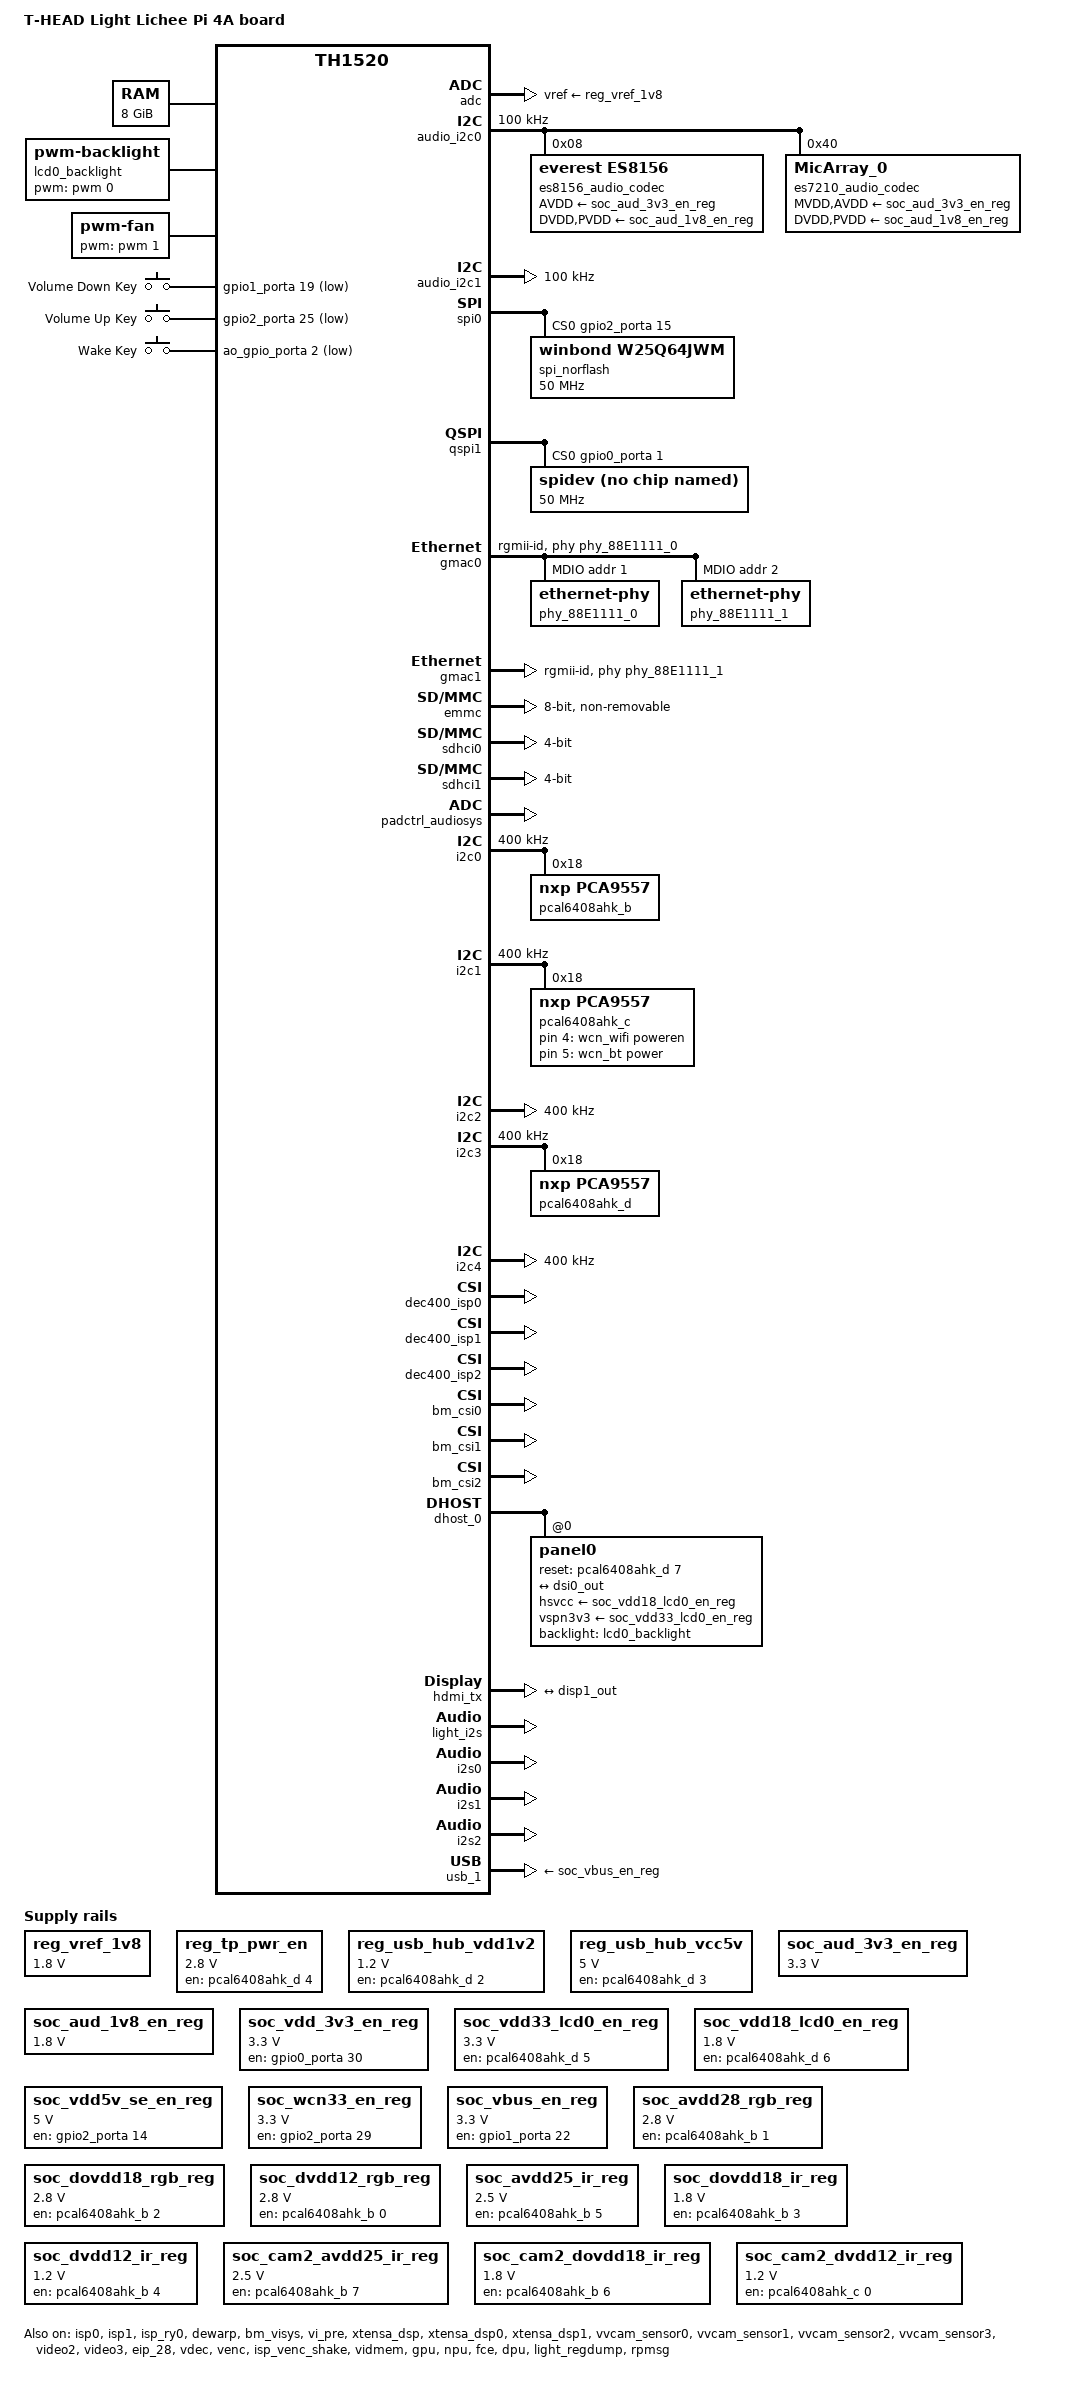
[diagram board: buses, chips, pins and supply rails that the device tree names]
/* SPDX-License-Identifier: GPL-2.0 */
/*
 * Copyright (C) 2021 Alibaba Group Holding Limited.
 */

/dts-v1/;

#include "th1520.dtsi"
#include <dt-bindings/input/linux-event-codes.h>
#include <dt-bindings/gpio/gpio.h>
#include "th1520-vi-devices.dtsi"
/ {
	model = "T-HEAD Light Lichee Pi 4A board";
	compatible = "thead,light-val", "thead,light-lpi4a", "thead,light";

	memory@0 {
		device_type = "memory";
		reg = <0x0 0x200000 0x1 0xffe00000>;
	};

	chosen {
		bootargs = "console=ttyS0,115200 crashkernel=256M-:128M earlycon clk_ignore_unused sram=0xffe0000000,0x180000";
		stdout-path = "serial0:115200n8";
	};

	leds {
		compatible = "gpio-leds";
		status = "disabled";
		led0 {
			label = "SYS_STATUS";
			gpios = <&gpio1_porta 15 0>;	/* GPIO_ACTIVE_HIGH: 0 */
			default-state = "off";
		};
	};

	display-subsystem {
		status = "okay";
	};

	lcd0_backlight: pwm-backlight@0 {
		compatible = "pwm-backlight";
		pwms = <&pwm 0 5000000>;
		brightness-levels = <0 4 8 16 32 64 128 255>;
		default-brightness-level = <7>;
	};

	light_iopmp: iopmp {
		compatible = "thead,light-iopmp";

		/* config#1: multiple valid regions */
		iopmp_emmc: IOPMP_EMMC {
			attr = <0xFFFFFFFF>;
			is_default_region;
		};

		/* config#2: iopmp bypass */
		iopmp_sdio0: IOPMP_SDIO0 {
			bypass_en;
		};

		/* config#3: iopmp default region set */
		iopmp_sdio1: IOPMP_SDIO1 {
			attr = <0xFFFFFFFF>;
			is_default_region;
		};

		iopmp_usb0: IOPMP_USB0 {
			attr = <0xFFFFFFFF>;
			is_default_region;
		};

		iopmp_ao: IOPMP_AO {
			is_default_region;
		};

		iopmp_aud: IOPMP_AUD {
			is_default_region;
		};

		iopmp_chip_dbg: IOPMP_CHIP_DBG {
			is_default_region;
		};

		iopmp_eip120i: IOPMP_EIP120I {
			is_default_region;
		};

		iopmp_eip120ii: IOPMP_EIP120II {
			is_default_region;
		};

		iopmp_eip120iii: IOPMP_EIP120III {
			is_default_region;
		};

		iopmp_isp0: IOPMP_ISP0 {
			is_default_region;
		};

		iopmp_isp1: IOPMP_ISP1 {
			is_default_region;
		};

		iopmp_dw200: IOPMP_DW200 {
			is_default_region;
		};

		iopmp_vipre: IOPMP_VIPRE {
			is_default_region;
		};

		iopmp_venc: IOPMP_VENC {
			is_default_region;
		};

		iopmp_vdec: IOPMP_VDEC {
			is_default_region;
		};

		iopmp_g2d: IOPMP_G2D {
			is_default_region;
		};

		iopmp_fce: IOPMP_FCE {
			is_default_region;
		};

		iopmp_npu: IOPMP_NPU {
			is_default_region;
		};

		iopmp0_dpu: IOPMP0_DPU {
			bypass_en;
		};

		iopmp1_dpu: IOPMP1_DPU {
			bypass_en;
		};

		iopmp_gpu: IOPMP_GPU {
			is_default_region;
		};

		iopmp_gmac1: IOPMP_GMAC1 {
			is_default_region;
		};

		iopmp_gmac2: IOPMP_GMAC2 {
			is_default_region;
		};

		iopmp_dmac: IOPMP_DMAC {
			is_default_region;
		};

		iopmp_tee_dmac: IOPMP_TEE_DMAC {
			is_default_region;
		};

		iopmp_dsp0: IOPMP_DSP0 {
			is_default_region;
		};

		iopmp_dsp1: IOPMP_DSP1 {
			is_default_region;
		};

		iopmp_audio0: IOPMP_AUDIO0 {
			is_default_region;
		};

		iopmp_audio1: IOPMP_AUDIO1 {
			is_default_region;
		};
	};

	mbox_910t_client1: mbox_910t_client1 {
		compatible = "thead,light-mbox-client";
		mbox-names = "902";
		mboxes = <&mbox_910t 1 0>;
		status = "disabled";
	};


	mbox_910t_client2: mbox_910t_client2 {
		compatible = "thead,light-mbox-client";
		mbox-names = "906";
		mboxes = <&mbox_910t 2 0>;
		audio-mbox-regmap = <&audio_mbox>;
		status = "okay";
	};

	lightsound: lightsound@1 {
		compatible = "simple-audio-card";
		simple-audio-card,name = "Light-Sound-Card";

		#address-cells = <1>;
		#size-cells = <0>;

		status = "disabled";
	};

	light_rpmsg: light_rpmsg {
		compatible = "light,rpmsg-bus", "simple-bus";
		memory-region = <&rpmsgmem>;
		#address-cells = <2>;
		#size-cells = <2>;
		ranges;
		rpmsg: rpmsg{
			vdev-nums = <1>;
            reg = <0x0 0x1E000000 0 0x10000>;
			compatible = "light,light-rpmsg";
			log-memory-region = <&audio_log_mem>;
			status = "okay";
		};
	};

	dummy_codec: dummy_codec {
		#sound-dai-cells = <0>;
		compatible = "thead,light-dummy-pcm";
		status = "okay";
		sound-name-prefix = "DUMMY";
	};

	fan: pwm-fan {
		compatible = "pwm-fan";
		#cooling-cells = <2>;
		pwms = <&pwm 1 10000000 0>;
		cooling-levels = <0 64 192 255>;
	};

	reg_vref_1v8: regulator-adc-verf {
		compatible = "regulator-fixed";
		regulator-name = "vref-1v8";
		regulator-min-microvolt = <1800000>;
		regulator-max-microvolt = <1800000>;
		status = "okay";
	};

	reg_tp_pwr_en: regulator-pwr-en {
		compatible = "regulator-fixed";
		regulator-name = "regulator-pwr-en";
		regulator-min-microvolt = <2800000>;
		regulator-max-microvolt = <2800000>;
		gpio = <&pcal6408ahk_d 4 1>;
		enable-active-high;
		regulator-always-on;
	};

	reg_usb_hub_vdd1v2: regulator-hub-vdd12-en {
		compatible = "regulator-fixed";
		regulator-name = "regulator-hub-vdd12-en";
		regulator-min-microvolt = <1200000>;
		regulator-max-microvolt = <1200000>;
		gpio = <&pcal6408ahk_d 2 1>;
		enable-active-high;
	};

	reg_usb_hub_vcc5v: regulator-hub-vcc5v-en {
		compatible = "regulator-fixed";
		regulator-name = "regulator-hub-vcc5v-en";
		regulator-min-microvolt = <5000000>;
		regulator-max-microvolt = <5000000>;
		gpio = <&pcal6408ahk_d 3 1>;
		enable-active-high;
	};

	wcn_wifi: wireless-wlan {
		compatible = "wlan-platdata";
		clock-names = "clk_wifi";
		ref-clock-frequency = <24000000>;
		keep_wifi_power_on;
		pinctrl-names = "default";
		pinctrl-0 = <&pinctrl_wifi_wake>;
		wifi_chip_type = "rtl8723ds";
		WIFI,poweren_gpio = <&pcal6408ahk_c 4 0>;
		support_power_ctrl;
		status = "okay";
	};

	wcn_bt: wireless-bluetooth {
		compatible = "bluetooth-platdata";
		pinctrl-names = "default";
		pinctrl-0 = <&pinctrl_bt_wake>;
		BT,power_gpio    = <&pcal6408ahk_c 5 0>;
		status = "okay";
	};

	gpio-keys {
		compatible = "gpio-keys";
		pinctrl-0 = <&pinctrl_volume &pinctrl_sleep>;
		pinctrl-names = "default";
		key-volumedown {
			label = "Volume Down Key";
			linux,code = <KEY_VOLUMEDOWN>;
			debounce-interval = <1>;
			gpios = <&gpio1_porta 19 0x1>;
		};
		key_volup: key-volumeup {
			label = "Volume Up Key";
			linux,code = <KEY_VOLUMEUP>;
			debounce-interval = <1>;
			gpios = <&gpio2_porta 25 0x1>;
		};

		key-wake {
			label = "Wake Key";
			wakeup-source;
			linux,code = <KEY_WAKEUP>;
			debounce-interval = <1>;
			gpios = <&ao_gpio_porta 2 0x1>;
		};
	};

	aon: aon {
		compatible = "thead,light-aon";
		mbox-names = "aon";
		mboxes = <&mbox_910t 1 0>;
		log-memory-region = <&aon_log_mem>;
		status = "okay";

		pd: light-aon-pd {
			compatible = "thead,light-aon-pd";
			#power-domain-cells = <1>;
		};

		soc_aud_3v3_en_reg: soc_aud_3v3_en {
			compatible = "regulator-fixed";
			regulator-name = "soc_aud_3v3_en";
			regulator-min-microvolt = <3300000>;
			regulator-max-microvolt = <3300000>;
			enable-active-high;
			regulator-always-on;
		};

		soc_aud_1v8_en_reg: soc_aud_1v8_en {
			compatible = "regulator-fixed";
			regulator-name = "soc_aud_1v8_en";
			regulator-min-microvolt = <1800000>;
			regulator-max-microvolt = <1800000>;
			enable-active-high;
			regulator-always-on;
		};

		soc_vdd_3v3_en_reg: soc_vdd_3v3_en {
			compatible = "regulator-fixed";
			regulator-name = "soc_vdd_3v3_en";
			regulator-min-microvolt = <3300000>;
			regulator-max-microvolt = <3300000>;
			gpio = <&gpio0_porta 30 1>;
			enable-active-high;
			regulator-always-on;
		};

		soc_vdd33_lcd0_en_reg: soc_lcd0_vdd33_en {
			compatible = "regulator-fixed";
			regulator-name = "soc_lcd0_vdd33_en";
			regulator-min-microvolt = <3300000>;
			regulator-max-microvolt = <3300000>;
			gpio = <&pcal6408ahk_d 5 1>;
			enable-active-high;
		};

		soc_vdd18_lcd0_en_reg: soc_lcd0_vdd18_en {
			compatible = "regulator-fixed";
			regulator-name = "soc_lcd0_vdd18_en";
			regulator-min-microvolt = <1800000>;
			regulator-max-microvolt = <1800000>;
			gpio = <&pcal6408ahk_d 6 1>;
			enable-active-high;
		};

		soc_vdd5v_se_en_reg: soc_vdd5v_se_en {
			compatible = "regulator-fixed";
			regulator-name = "soc_vdd5v_se_en";
			regulator-min-microvolt = <5000000>;
			regulator-max-microvolt = <5000000>;
			gpio = <&gpio2_porta 14 1>;
			enable-active-high;
			regulator-always-on;
		};

		soc_wcn33_en_reg: soc_wcn33_en {
			compatible = "regulator-fixed";
			regulator-name = "soc_wcn33_en";
			regulator-min-microvolt = <3300000>;
			regulator-max-microvolt = <3300000>;
			gpio = <&gpio2_porta 29 1>;
			enable-active-high;
			regulator-always-on;
		};

		soc_vbus_en_reg: soc_vbus_en {
			compatible = "regulator-fixed";
			regulator-name = "soc_vbus_en";
			regulator-min-microvolt = <3300000>;
			regulator-max-microvolt = <3300000>;
			gpio = <&gpio1_porta 22 1>;
			enable-active-high;
		
		};


		soc_avdd28_rgb_reg: soc_avdd28_rgb {
			compatible = "regulator-fixed";
			regulator-name = "soc_avdd28_rgb";
			regulator-min-microvolt = <2800000>;
			regulator-max-microvolt = <2800000>;
			gpio = <&pcal6408ahk_b 1 1>;
			enable-active-high;
		};

		soc_dovdd18_rgb_reg: soc_dovdd18_rgb {
			compatible = "regulator-fixed";
			regulator-name = "soc_dovdd18_rgb";
			regulator-min-microvolt = <2800000>;
			regulator-max-microvolt = <2800000>;
			gpio = <&pcal6408ahk_b 2 1>;
			enable-active-high;
		};

		soc_dvdd12_rgb_reg: soc_dvdd12_rgb {
			compatible = "regulator-fixed";
			regulator-name = "soc_dvdd12_rgb";
			regulator-min-microvolt = <2800000>;
			regulator-max-microvolt = <2800000>;
			gpio = <&pcal6408ahk_b 0 1>;
			enable-active-high;
		};

		soc_avdd25_ir_reg: soc_avdd25_ir {
			compatible = "regulator-fixed";
			regulator-name = "soc_avdd25_ir";
			regulator-min-microvolt = <2500000>;
			regulator-max-microvolt = <2500000>;
			gpio = <&pcal6408ahk_b 5 1>;
			enable-active-high;
		};

		soc_dovdd18_ir_reg: soc_dovdd18_ir {
			compatible = "regulator-fixed";
			regulator-name = "soc_dovdd18_ir";
			regulator-min-microvolt = <1800000>;
			regulator-max-microvolt = <1800000>;
			gpio = <&pcal6408ahk_b 3 1>;
			enable-active-high;
		};

		soc_dvdd12_ir_reg: soc_dvdd12_ir {
			compatible = "regulator-fixed";
			regulator-name = "soc_dvdd12_ir";
			regulator-min-microvolt = <1200000>;
			regulator-max-microvolt = <1200000>;
			gpio = <&pcal6408ahk_b 4 1>;
			enable-active-high;
		};

		soc_cam2_avdd25_ir_reg: soc_cam2_avdd25_ir {
			compatible = "regulator-fixed";
			regulator-name = "soc_cam2_avdd25_ir";
			regulator-min-microvolt = <2500000>;
			regulator-max-microvolt = <2500000>;
			gpio = <&pcal6408ahk_b 7 1>;
			enable-active-high;
		};

		soc_cam2_dovdd18_ir_reg: soc_cam2_dovdd18_ir {
			compatible = "regulator-fixed";
			regulator-name = "soc_cam2_dovdd18_ir";
			regulator-min-microvolt = <1800000>;
			regulator-max-microvolt = <1800000>;
			gpio = <&pcal6408ahk_b 6 1>;
			enable-active-high;
		};

		soc_cam2_dvdd12_ir_reg: soc_cam2_dvdd12_ir {
			compatible = "regulator-fixed";
			regulator-name = "soc_cam2_dvdd12_ir";
			regulator-min-microvolt = <1200000>;
			regulator-max-microvolt = <1200000>;
			gpio = <&pcal6408ahk_c 0 1>;
			enable-active-high;
		};

			dvdd_cpu_reg: appcpu_dvdd {
				compatible = "thead,light-dialog-pmic";
				regulator-name = "appcpu_dvdd";
				regulator-min-microvolt = <300000>;
				regulator-max-microvolt = <1570000>;
				regulator-type = "dvdd";
				regulator-boot-on;
				regulator-always-on;
			};

			dvddm_cpu_reg: appcpu_dvddm {
				compatible = "thead,light-dialog-pmic";
				regulator-name = "appcpu_dvddm";
				regulator-min-microvolt = <300000>;
				regulator-max-microvolt = <1570000>;
				regulator-type = "dvddm";
				regulator-dual-rail;
				regulator-boot-on;
				regulator-always-on;
			};

			soc_dvdd18_aon_reg: soc_dvdd18_aon {
				compatible = "thead,light-dialog-pmic";
				regulator-name = "soc_dvdd18_aon";
				regulator-type = "common";
				regulator-boot-on;
				regulator-always-on;
			};

			soc_avdd33_usb3_reg: soc_avdd33_usb3 {
				compatible = "thead,light-dialog-pmic";
				regulator-name = "soc_avdd33_usb3";
				regulator-type = "common";
				regulator-boot-on;
				regulator-always-on;
			};

			soc_dvdd08_aon_reg: soc_dvdd08_aon {
				compatible = "thead,light-dialog-pmic";
				regulator-name = "soc_dvdd08_aon";
				regulator-type = "common";
				regulator-boot-on;
				regulator-always-on;
			};

			soc_dvdd08_ddr_reg: soc_dvdd08_ddr {
				compatible = "thead,light-dialog-pmic";
				regulator-name = "soc_dvdd08_ddr";
				regulator-type = "common";
				regulator-boot-on;
				regulator-always-on;
			};

			soc_vdd_ddr_1v8_reg: soc_vdd_ddr_1v8 {
				compatible = "thead,light-dialog-pmic";
				regulator-name = "soc_vdd_ddr_1v8";
				regulator-type = "common";
				regulator-boot-on;
				regulator-always-on;
			};

			soc_vdd_ddr_1v1_reg: soc_vdd_ddr_1v1 {
				compatible = "thead,light-dialog-pmic";
				regulator-name = "soc_vdd_ddr_1v1";
				regulator-type = "common";
				regulator-boot-on;
				regulator-always-on;
			};

			soc_vdd_ddr_0v6_reg: soc_vdd_ddr_0v6 {
				compatible = "thead,light-dialog-pmic";
				regulator-name = "soc_vdd_ddr_0v6";
				regulator-type = "common";
				regulator-boot-on;
				regulator-always-on;
			};

			soc_dvdd18_ap_reg: soc_dvdd18_ap {
				compatible = "thead,light-dialog-pmic";
				regulator-name = "soc_dvdd18_ap";
				regulator-type = "common";
				regulator-boot-on;
				regulator-always-on;
			};

			soc_dvdd08_ap_reg: soc_dvdd08_ap {
				compatible = "thead,light-dialog-pmic";
				regulator-name = "soc_dvdd08_ap";
				regulator-type = "common";
				regulator-boot-on;
				regulator-always-on;
			};

			soc_avdd08_mipi_hdmi_reg: soc_avdd08_mipi_hdmi {
				compatible = "thead,light-dialog-pmic";
				regulator-name = "soc_avdd08_mipi_hdmi";
				regulator-type = "common";
				regulator-boot-on;
				regulator-always-on;
			};

			soc_avdd18_mipi_hdmi_reg: soc_avdd18_mipi_hdmi {
				compatible = "thead,light-dialog-pmic";
				regulator-name = "soc_avdd18_mipi_hdmi";
				regulator-type = "common";
				regulator-boot-on;
				regulator-always-on;
			};

			soc_vdd33_emmc_reg: soc_vdd33_emmc {
				compatible = "thead,light-dialog-pmic";
				regulator-name = "soc_dvdd33_emmc";
				regulator-type = "common";
				regulator-boot-on;
				regulator-always-on;
			};

			soc_vdd18_emmc_reg: soc_vdd18_emmc {
				compatible = "thead,light-dialog-pmic";
				regulator-name = "soc_dvdd18_emmc";
				regulator-type = "gpio";
				regulator-boot-on;
				regulator-always-on;
			};

			soc_dovdd18_scan_reg: soc_dovdd18_scan {
				compatible = "thead,light-dialog-pmic";
				regulator-name = "soc_dovdd18_scan";
				regulator-type = "common";
				regulator-min-microvolt = <900000>;
				regulator-max-microvolt = <3600000>;
			};

			soc_dvdd12_scan_reg: soc_dvdd12_scan {
				compatible = "thead,light-dialog-pmic";
				regulator-name = "soc_dvdd12_scan";
				regulator-type = "common";
				regulator-min-microvolt = <900000>;
				regulator-max-microvolt = <3600000>;
			};

			soc_avdd28_scan_en_reg: soc_avdd28_scan_en {
				compatible = "thead,light-dialog-pmic";
				regulator-name = "soc_avdd28_scan_en";
				regulator-type = "common";
				regulator-min-microvolt = <900000>;
				regulator-max-microvolt = <3600000>;
			};


		c910_cpufreq {
			compatible = "thead,light-mpw-cpufreq";
			status = "okay";
		};

		test: light-aon-test {
			compatible = "thead,light-aon-test";
		};
	};

	thermal-zones {
		cpu-thermal-zone {
			sustainable-power = <1600>;

			trips {
				fan_config0: fan-trip0 {
					temperature = <40000>;
					hysteresis = <5000>;
					type = "active";
				};

				fan_config1: fan-trip1 {
					temperature = <50000>;
					hysteresis = <5000>;
					type = "active";
				};

				fan_config2: fan-trip2 {
					temperature = <60000>;
					hysteresis = <5000>;
					type = "active";
				};
			};

			cooling-maps {
				fan-on {
					trip = <&fan_config0>;
					cooling-device =
						<&fan 1 1>;
				};
				fan-faster {
					trip = <&fan_config1>;
					cooling-device =
						<&fan 2 2>;
				};
				fan-full {
					trip = <&fan_config2>;
					cooling-device =
						<&fan 3 3>;
				};
			};
		};

		dev-thermal-zone {
			sustainable-power = <3000>;
		};
	};

};

&aon_suspend_ctrl {
	audio-text-memory-region = <&audio_text_mem>;
	status = "okay";
};

&cmamem {
	size = <0 0x20000000>; // 512MB on lpi4a (SOM)
	alloc-ranges = <0 0xd8000000 0 0x20000000>; // [0x0D800_0000 ~ 0x0F800_0000]
};

&resmem {
	#address-cells = <2>;
	#size-cells = <2>;
	ranges;
	//Note: with "no-map" reserv mem not saved in hibernation
	tee_mem: memory@1c000000 {
		reg = <0x0 0x1c000000 0 0x2000000>;
		no-map;
	};

	dsp0_mem: memory@20000000 {             /**0x2000_0000~0x2040_0000 4M**/
		reg = <0x0 0x20000000 0x0 0x00280000   /* DSP FW code&data section 2.5M*/ 
               0x0 0x20280000 0x0 0x00001000   /* DSP communication area 4K*/ 
               0x0 0x20281000 0x0 0x00007000  /* Panic/log page 28K */
               0x0 0x20288000 0x0 0x00178000>;  /* DSP shared memory 1.5M-32K*/
	};
    dsp1_mem: memory@20400000 {             /**0x2040_0000~0x2080_0000 4M**/
        reg = <0x0 0x20400000 0x0 0x00280000  /* DSP FW code&data section */ 
               0x0 0x20680000 0x0 0x00001000 /* DSP communication area */
               0x0 0x20681000 0x0 0x00007000    /* Panic/log page*/ 
               0x0 0x20688000 0x0 0x00178000>;  /* DSP shared memory */
    };
	vi_mem: framebuffer@10000000 {
		reg = <0x0 0x10000000 0x0 0x6700000>;	/* vi_mem_pool_region[0]  44 MB (default) */
		       //0x0 0x12C00000 0x0 0x01D00000	/* vi_mem_pool_region[1]  29 MB */
		       //0x0 0x14900000 0x0 0x01E00000>;	/* vi_mem_pool_region[2]  30 MB */
		no-map;
	};
	facelib_mem: memory@17000000 {
		reg = <0x0 0x17000000 0 0x02000000>;
	};
    audio_text_mem: memory@32000000 {
		reg = <0x0 0x32000000 0x0 0xE00000>;
		//no-map;
    };
    audio_data_mem: memory@32E00000 {
		reg = <0x0 0x32E00000 0x0 0x600000>;
		//no-map;
    };
	audio_log_mem: memory@33400000 {
        reg = <0x0 0x33400000 0x0 0x200000>;
	};
	aon_log_mem: memory@33600000 {
        reg = <0x0 0x33600000 0x0 0x200000>;
	};
	regdump_mem: memory@38400000 {
		reg = <0x0 0x38400000 0x0 0x1E00000>;
		no-map;
	};
	rpmsgmem: memory@1E000000 {
		reg = <0x0 0x1E000000 0x0 0x10000>;
	};

};

&adc {
	vref-supply = <&reg_vref_1v8>;
    #io-channel-cells = <1>;
	status = "okay";
};

&audio_i2c0 {
	clock-frequency = <100000>;
	status = "okay";
	pinctrl-names = "default";
	pinctrl-0 = <&pinctrl_audiopa29>,
				<&pinctrl_audiopa30>,
				<&pinctrl_audio_i2c0>;

	es8156_audio_codec: es8156@8 {
		#sound-dai-cells = <0>;
		compatible = "everest,es8156";
		reg = <0x08>;
		sound-name-prefix = "ES8156";
		AVDD-supply = <&soc_aud_3v3_en_reg>;
		DVDD-supply = <&soc_aud_1v8_en_reg>;
		PVDD-supply = <&soc_aud_1v8_en_reg>;
	};

	es7210_audio_codec: es7210@40 {
		#sound-dai-cells = <0>;
		compatible = "MicArray_0";
		reg = <0x40>;
		sound-name-prefix = "ES7210";
		MVDD-supply = <&soc_aud_3v3_en_reg>;
		AVDD-supply = <&soc_aud_3v3_en_reg>;
		DVDD-supply = <&soc_aud_1v8_en_reg>;
		PVDD-supply = <&soc_aud_1v8_en_reg>;
	};

	audio_aw87519_pa: amp@58 {
		compatible = "awinic,aw87519_pa";
		reg = <0x58>;
		sound-name-prefix = "AW87519";
		status = "disabled";
	};

	audio_aw87519_pa1@5b {
		compatible = "awinic,aw87519_pa";
		reg = <0x5b>;
		status = "disabled";
	};

};

&audio_i2c1 {
	clock-frequency = <100000>;
	status = "okay";
	pinctrl-0 = <&pinctrl_audiopa6>,
				<&pinctrl_audiopa7>,
				<&pinctrl_audio_i2c1>;

	es8156_audio_codec_1: es8156@8 {
		#sound-dai-cells = <0>;
		compatible = "everest,es8156";
		reg = <0x08>;
		status = "disabled";
	};

	es7210_audio_codec_1: es7210@40 {
		#sound-dai-cells = <0>;
		compatible = "MicArray_0";
		reg = <0x40>;
		status = "disabled";
	};

	audio_aw87519_pa2@58 {
		compatible = "awinic,aw87519_pa";
		reg = <0x58>;
		status = "disabled";
	};

	audio_aw87519_pa3@5b {
		compatible = "awinic,aw87519_pa";
		reg = <0x5b>;
		status = "disabled";
	};
};

&spi0 {
	num-cs = <1>;
	cs-gpios = <&gpio2_porta 15 0>; // GPIO_ACTIVE_HIGH: 0
	rx-sample-delay-ns = <10>;
	pinctrl-names = "default";
	pinctrl-0 = <&pinctrl_spi0>;
	status = "okay";

	spi_norflash@0 {
		status = "okay";
		#address-cells = <1>;
		#size-cells = <1>;
		compatible = "winbond,w25q64jwm", "jedec,spi-nor";
		reg = <0>;
		spi-max-frequency = <50000000>;
		w25q,fast-read;
	};

	spidev@1 {
		status = "disable";
		compatible = "spidev";
		#address-cells = <0x1>;
		#size-cells = <0x1>;
		reg = <0x1>;
		spi-max-frequency = <50000000>;
	};
};

&uart0 {
	clock-frequency = <100000000>;
	pinctrl-names = "default";
	pinctrl-0 = <&pinctrl_uart0>;
};

&uart1 {
	pinctrl-names = "default";
	pinctrl-0 = <&pinctrl_uart1>;
};

&uart3 {
	pinctrl-names = "default";
	pinctrl-0 = <&pinctrl_uart3>;
};

&uart4 {
	pinctrl-names = "default";
	pinctrl-0 = <&pinctrl_uart4>;
};

&qspi0 {
	num-cs = <1>;
	cs-gpios = <&gpio2_porta 3 0>;
	rx-sample-dly = <4>;
	status = "disabled";

	spi-flash@0 {
		#address-cells = <1>;
		#size-cells = <1>;
		compatible = "spi-nand";
		spi-max-frequency = <100000000>;
		spi-tx-bus-width = <4>;
		spi-rx-bus-width = <4>;
		reg = <0>;

		partition@0 {
			label = "ubi1";
			reg = <0x00000000 0x08000000>;
		};
	};
};

&qspi1 {
	compatible = "snps,dw-apb-ssi";
	num-cs = <1>;
	cs-gpios = <&gpio0_porta 1 0>;
	pinctrl-names = "default";
	pinctrl-0 = <&pinctrl_qspi1>;
	status = "okay";

	spidev@0 {
		compatible = "spidev";
		#address-cells = <0x1>;
		#size-cells = <0x1>;
		reg = <0x0>;
		spi-max-frequency = <50000000>;
	};

};

&gmac0 {
	phy-mode = "rgmii-id";
	rx-clk-delay = <0x00>; /* for RGMII */
	tx-clk-delay = <0x00>; /* for RGMII */
	phy-handle = <&phy_88E1111_0>;
	status = "okay";
	pinctrl-names = "default";
	pinctrl-0 = <&pinctrl_gmac0>;

	mdio0 {
		#address-cells = <1>;
		#size-cells = <0>;
		compatible = "snps,dwmac-mdio";

		phy_88E1111_0: ethernet-phy@0 {
			reg = <0x1>;
		};

		phy_88E1111_1: ethernet-phy@1 {
			reg = <0x2>;
		};
	};
};

&gmac1 {
	phy-mode = "rgmii-id";
	rx-clk-delay = <0x00>; /* for RGMII */
	tx-clk-delay = <0x00>; /* for RGMII */
	phy-handle = <&phy_88E1111_1>;
	status = "okay";
	pinctrl-names = "default";
	pinctrl-0 = <&pinctrl_gmac1>;
};

&emmc {
	max-frequency = <198000000>;
	non-removable;
	mmc-hs400-1_8v;
	io_fixed_1v8;
	is_emmc;
	no-sdio;
	no-sd;
	pull_up;
	bus-width = <8>;
	status = "okay";
};

&sdhci0 {
	max-frequency = <100000000>;
	bus-width = <4>;
	pull_up;
	wprtn_ignore;
	status = "okay";
	pinctrl-names = "default";
	pinctrl-0 = <&pinctrl_sdio0>;
};

&sdhci1 {
	max-frequency = <100000000>;
	bus-width = <4>;
	pull_up;
	no-sd;
	no-mmc;
	broken-cd;
	io_fixed_1v8;
	post-power-on-delay-ms = <50>;
	wprtn_ignore;
	cap-sd-highspeed;
	wakeup-source;
	keep-power-in-suspend;
	status = "okay";
};

&padctrl0_apsys { /* right-pinctrl */
	light-evb-padctrl0 {
			/*
			 * Pin Configuration Node:
			 * Format: <pin_id mux_node config>
			 */
			pinctrl_uart0: uart0grp {
				thead,pins = <
					FM_UART0_TXD	0x0	0x202
					FM_UART0_RXD	0x0	0x202
				>;
			};

			pinctrl_i2c2: i2c2grp {
				thead,pins = <
					FM_I2C2_SCL	0x0	0x204
					FM_I2C2_SDA	0x0	0x204
				>;
			};

			pinctrl_i2c3: i2c3grp {
				thead,pins = <
					FM_I2C3_SCL	0x0	0x204
					FM_I2C3_SDA	0x0	0x204
				>;
			};

			pinctrl_spi0: spi0grp {
				thead,pins = <
					FM_SPI_CSN	0x3	0x20a
					FM_SPI_SCLK	0x0	0x20a
					FM_SPI_MISO	0x0	0x23a
					FM_SPI_MOSI	0x0	0x23a
				>;
			};

			pinctrl_qspi0: qspi0grp {
				thead,pins = <
					FM_QSPI0_SCLK    0x0    0x20f
					FM_QSPI0_CSN0    0x3    0x20f
					FM_QSPI0_CSN1    0x0    0x20f
					FM_QSPI0_D0_MOSI 0x0    0x23f
					FM_QSPI0_D1_MISO 0x0    0x23f
					FM_QSPI0_D2_WP   0x0    0x23f
					FM_QSPI0_D3_HOLD 0x0    0x23f
				>;
			};

			pinctrl_light_i2s0: i2s0grp {
				thead,pins = <
					FM_QSPI0_SCLK    0x2    0x208
					FM_QSPI0_CSN0    0x2    0x238
					FM_QSPI0_CSN1    0x2    0x208
					FM_QSPI0_D0_MOSI 0x2    0x238
					FM_QSPI0_D1_MISO 0x2    0x238
					FM_QSPI0_D2_WP   0x2    0x238
					FM_QSPI0_D3_HOLD 0x2    0x238
				>;
			};

			pinctrl_gmac1: gmac1grp {
				thead,pins = <
					FM_GPIO2_18	0x1	0x20f	/*	GMAC1_TX_CLK  */
					FM_GPIO2_19	0x1	0x20f	/*	GMAC1_RX_CLK  */
					FM_GPIO2_20	0x1	0x20f	/*	GMAC1_TXEN  */
					FM_GPIO2_21	0x1	0x20f	/*	GMAC1_TXD0  */
					FM_GPIO2_22	0x1	0x20f	/*	GMAC1_TXD1  */
					FM_GPIO2_23	0x1	0x20f	/*	GMAC1_TXD2  */
					FM_GPIO2_24	0x1	0x20f	/*	GMAC1_TXD3  */
					FM_GPIO2_25	0x1	0x20f	/*	GMAC1_RXDV  */
					FM_GPIO2_30	0x1	0x20f	/*	GMAC1_RXD0  */
					FM_GPIO2_31	0x1	0x20f	/*	GMAC1_RXD1  */
					FM_GPIO3_0	0x1	0x20f	/*	GMAC1_RXD2  */
					FM_GPIO3_1	0x1	0x20f	/*	GMAC1_RXD3  */
				>;
			};

			pinctrl_sdio0: sdio0grp {
				thead,pins = <
					FM_SDIO0_DETN	0x0	0x202
				>;
			};

			pinctrl_pwm: pwmgrp {
				thead,pins = <
					FM_GPIO3_2	0x1	0x20f	/* pwm0 */
					FM_GPIO3_3	0x1	0x20f	/* pwm1 */
				>;
			};

			pinctrl_hdmi: hdmigrp {
				thead,pins = <
					FM_HDMI_SCL	0x0	0x202
					FM_HDMI_SDA	0x0	0x202
					FM_HDMI_CEC	0x0	0x202
				>;
			};

			pinctrl_gmac0: gmac0grp {
				thead,pins = <
					FM_GMAC0_TX_CLK	0x0	0x20f	/*	GMAC0_TX_CLK  */
					FM_GMAC0_RX_CLK	0x0	0x20f	/*	GMAC0_RX_CLK  */
					FM_GMAC0_TXEN	0x0	0x20f	/*	GMAC0_TXEN  */
					FM_GMAC0_TXD0	0x0	0x20f	/*	GMAC0_TXD0  */
					FM_GMAC0_TXD1	0x0	0x20f	/*	GMAC0_TXD1  */
					FM_GMAC0_TXD2	0x0	0x20f	/*	GMAC0_TXD2  */
					FM_GMAC0_TXD3	0x0	0x20f	/*	GMAC0_TXD3  */
					FM_GMAC0_RXDV	0x0	0x20f	/*	GMAC0_RXDV  */
					FM_GMAC0_RXD0	0x0	0x20f	/*	GMAC0_RXD0  */
					FM_GMAC0_RXD1	0x0	0x20f	/*	GMAC0_RXD1  */
					FM_GMAC0_RXD2	0x0	0x20f	/*	GMAC0_RXD2  */
					FM_GMAC0_RXD3	0x0	0x20f	/*	GMAC0_RXD3  */
					FM_GMAC0_MDC	0x0 0x208	/*	GMAC0_MDC  */
					FM_GMAC0_MDIO	0x0 0x208	/*	GMAC0_MDIO  */
					FM_GMAC0_COL	0x3	0x232	/*	PHY0_nRST  */
					FM_GMAC0_CRS	0x3	0x232	/*	PHY0_nINT  */
				>;
			};
		};
};

&padctrl1_apsys { /* left-pinctrl */
	light-evb-padctrl1 {
			/*
			 * Pin Configuration Node:
			 * Format: <pin_id mux_node config>
			 */
			pinctrl_qspi1: qspi1grp {
				thead,pins = <
					FM_QSPI1_SCLK    0x0    0x20a
					FM_QSPI1_CSN0    0x3    0x20a
					FM_QSPI1_D0_MOSI 0x0    0x23a
					FM_QSPI1_D1_MISO 0x0    0x23a
				>;
			};

			pinctrl_i2c0: i2c0grp {
				thead,pins = <
					FM_I2C0_SCL	0x0	0x204
					FM_I2C0_SDA	0x0	0x204
				>;
			};

			pinctrl_i2c1: i2c1grp {
				thead,pins = <
					FM_I2C1_SCL	0x0	0x204
					FM_I2C1_SDA	0x0	0x204
				>;
			};

			pinctrl_uart1: uart1grp {
 				thead,pins = <
					FM_UART1_TXD	0x0	0x202
					FM_UART1_RXD	0x0	0x202
				>;
			};

			pinctrl_uart4: uart4grp {
				thead,pins = <
					FM_UART4_TXD	0x0	0x202
					FM_UART4_RXD	0x0	0x202
					FM_UART4_CTSN	0x0	0x202
					FM_UART4_RTSN	0x0	0x202
				>;
			};

			pinctrl_uart3: uart3grp {
				thead,pins = <
					FM_UART3_TXD	0x1	0x202
					FM_UART3_RXD	0x1	0x202
				>;
			};

			pinctrl_uart3_tx_is_gpio: uart3txisgpiogrp {
				thead,pins = <
					FM_UART3_TXD	0x3	0x202
					FM_UART3_RXD	0x1	0x202
				>;
			};




			pinctrl_wifi_wake: wifi_grp {
				thead,pins = <
					FM_GPIO0_27	0x0	0x202
				>;
			};

			pinctrl_bt_wake: bt_grp {
				thead,pins = <
					FM_GPIO0_28	0x0	0x202
				>;
			};

			pinctrl_iso7816: iso7816grp {
				thead,pins = <
					FM_QSPI1_SCLK		0x1	0x208
					FM_QSPI1_D0_MOSI	0x1	0x238
					FM_QSPI1_D1_MISO	0x1	0x238
					FM_QSPI1_D2_WP		0x1	0x238
					FM_QSPI1_D3_HOLD	0x1	0x238
				>;
			};

			pinctrl_volume: volume_grp {
				thead,pins = <
					FM_CLK_OUT_2  0x3     0x208
				>;
			};
		};
};

&padctrl_aosys {
	light-aon-padctrl {
			/*
			 * Pin Configuration Node:
			 * Format: <pin_id mux_node config>
			 */

			pinctrl_audiopa1: audiopa1_grp {
				thead,pins = <
					FM_AUDIO_PA1	0x3	0x72
				>;
			};

			pinctrl_audiopa2: audiopa2_grp {
				thead,pins = <
					FM_AUDIO_PA2	0x0	0x72
				>;
			};
			pinctrl_audiopa6: audiopa6 {
				thead,pins = < FM_AUDIO_PA6 LIGHT_PIN_FUNC_0 0x000 >;
			};
			pinctrl_audiopa7: audiopa7 {
				thead,pins = < FM_AUDIO_PA7 LIGHT_PIN_FUNC_0 0x000 >;
			};
			pinctrl_audiopa14: audiopa14 {
				thead,pins = < FM_AUDIO_PA14 LIGHT_PIN_FUNC_0 0x000 >;
			};
			pinctrl_audiopa15: audiopa15 {
				thead,pins = < FM_AUDIO_PA15 LIGHT_PIN_FUNC_0 0x000 >;
			};
			pinctrl_audiopa16: audiopa16 {
				thead,pins = < FM_AUDIO_PA16 LIGHT_PIN_FUNC_0 0x000 >;
			};
			pinctrl_audiopa17: audiopa17 {
				thead,pins = < FM_AUDIO_PA17 LIGHT_PIN_FUNC_0 0x000 >;
			};
			pinctrl_audiopa18: audiopa18 {
				thead,pins = < FM_AOGPIO_7 LIGHT_PIN_FUNC_1 0x000 >;
			};
			pinctrl_audiopa19: audiopa19 {
				thead,pins = < FM_AOGPIO_8 LIGHT_PIN_FUNC_1 0x000 >;
			};
			pinctrl_audiopa21: audiopa21 {
				thead,pins = < FM_AOGPIO_10 LIGHT_PIN_FUNC_1 0x000 >;
			};
			pinctrl_audiopa22: audiopa22 {
				thead,pins = < FM_AOGPIO_11 LIGHT_PIN_FUNC_1 0x000 >;
			};
			pinctrl_audiopa29: audiopa29 {
				thead,pins = < FM_AUDIO_PA29 LIGHT_PIN_FUNC_0 0x000 >;
			};
			pinctrl_audiopa30: audiopa30 {
				thead,pins = < FM_AUDIO_PA30 LIGHT_PIN_FUNC_0 0x000 >;
			};
			pinctrl_sleep: sleep_grp {
				thead,pins = <FM_CPU_JTG_TCLK 0x3   0x238 >;
			};

	};
};

&padctrl_audiosys {

	status = "okay";

	light-audio-padctrl {
		/*
		 * Pin Configuration Node:
		 * Format: <pin_id mux_node config>
		 */

		pinctrl_audio_i2c0: audio_i2c0_grp {
			thead,pins = <
				FM_AUDIO_IO_PA29     LIGHT_PIN_FUNC_2 0x004
				FM_AUDIO_IO_PA30     LIGHT_PIN_FUNC_2 0x004
			>;
		};
		pinctrl_audio_i2c1: audio_i2c1_grp {
			thead,pins = <
				FM_AUDIO_IO_PA6     LIGHT_PIN_FUNC_2 0x004
				FM_AUDIO_IO_PA7     LIGHT_PIN_FUNC_2 0x004
			>;
		};
		pinctrl_audio_i2s1: audio_i2s1_grp {
			thead,pins = <
				FM_AUDIO_IO_PA14   LIGHT_PIN_FUNC_0 0x008
				FM_AUDIO_IO_PA15   LIGHT_PIN_FUNC_0 0x008
				FM_AUDIO_IO_PA16   LIGHT_PIN_FUNC_0 0x008
				FM_AUDIO_IO_PA17   LIGHT_PIN_FUNC_0 0x008
			>;
		};
		pinctrl_audio_i2s2: audio_i2s2_grp {
			thead,pins = <
				FM_AUDIO_IO_PA18   LIGHT_PIN_FUNC_0 0x008
				FM_AUDIO_IO_PA19   LIGHT_PIN_FUNC_0 0x008
				FM_AUDIO_IO_PA21   LIGHT_PIN_FUNC_0 0x008
				FM_AUDIO_IO_PA22   LIGHT_PIN_FUNC_0 0x008
			>;
		};
	};
};

&pwm {
	pinctrl-names = "default";
	pinctrl-0 = <&pinctrl_pwm>;
};

&i2c0 {
    clock-frequency = <400000>;
	status = "okay";
	pinctrl-names = "default";
	pinctrl-0 = <&pinctrl_i2c0>;

	pcal6408ahk_b: gpio@18 {
		compatible = "nxp,pca9557";
		reg = <0x18>;
		gpio-controller;
		#gpio-cells = <2>;
	};
};

&i2c1 {
    clock-frequency = <400000>;
	status = "okay";
	pinctrl-names = "default";
	pinctrl-0 = <&pinctrl_i2c1>;

	pcal6408ahk_c: gpio@18 {
		compatible = "nxp,pca9557";
		reg = <0x18>;
		gpio-controller;
		#gpio-cells = <2>;
	};
};

&i2c2 {
    clock-frequency = <400000>;
	status = "okay";
	pinctrl-names = "default";
	pinctrl-0 = <&pinctrl_i2c2>;
};

&i2c3 {
    clock-frequency = <400000>;
	status = "okay";
	pinctrl-names = "default";
	pinctrl-0 = <&pinctrl_i2c3>;

	pcal6408ahk_d: gpio@18 {
		compatible = "nxp,pca9557";
		reg = <0x18>;
		gpio-controller;
		#gpio-cells = <2>;
	};

	touch@14 {
		#gpio-cells = <2>;
		compatible = "goodix,gt9271";
		reg = <0x14>;
		interrupt-parent = <&ao_gpio_porta>;
		interrupts = <3 0>;
		irq-gpios = <&ao_gpio_porta 3 0>;
		reset-gpios = <&pcal6408ahk_d 0 0>;
		AVDD28-supply = <&reg_tp_pwr_en>;
		tp-size = <9271>;
		status = "disable";
	};
};

&i2c4 {
    clock-frequency = <400000>;
	status = "okay";
};

&isp0 {
	status = "okay";
};

&isp1 {
	status = "okay";
};

&isp_ry0 {
	status = "okay";
};

&dewarp {
	status = "okay";
};

&dec400_isp0 {
	status = "okay";
};

&dec400_isp1 {
	status = "okay";
};

&dec400_isp2 {
	status = "okay";
};

&bm_visys {
	status = "okay";
};

&bm_csi0 {
	status = "okay";
};

&bm_csi1 {
	status = "okay";
};

&bm_csi2 {
	status = "okay";
};

&vi_pre {
	//vi_pre_irq_en = <1>;
	status = "okay";
};

&xtensa_dsp {
	status = "okay";
};

&xtensa_dsp0 {
	status = "okay";
    memory-region = <&dsp0_mem>;
};

&xtensa_dsp1 {
	status = "okay";
    memory-region = <&dsp1_mem>;
};

&vvcam_sensor0 {
	sensor_name = "OV12870";
	sensor_regulators = "soc_dovdd18_rgb", "soc_dvdd12_rgb", "soc_avdd28_rgb";
	sensor_regulator_timing_us = <70 50 20>;
	sensor_pdn = <&gpio1_porta 28 0>; //powerdown pin / shutdown pin 
    sensor_rst 	= <&pcal6408ahk_c 1 0>;
	sensor_pdn_delay_us = <4000>; //powerdown pin / shutdown pin actived till I2C ready
	DOVDD18_RGB-supply = <&soc_dovdd18_rgb_reg>;
	DVDD12_RGB-supply = <&soc_dvdd12_rgb_reg>;
	AVDD28_RGB-supply = <&soc_avdd28_rgb_reg>;
    i2c_reg_width = /bits/ 8 <2>;
    i2c_data_width = /bits/ 8 <1>;
    i2c_addr = /bits/ 8 <0x10>;
	i2c_bus = /bits/ 8 <0>;
	status = "okay";
};

&vvcam_sensor1 {//cam1 csia
    sensor_name = "SC132GS";
    sensor_regulators = "soc_dovdd18_ir", "soc_dvdd12_ir", "soc_avdd25_ir";
    sensor_regulator_timing_us = <70 1000 2000>;
    i2c_addr = /bits/ 8 <0x30>;
    sensor_pdn = <&gpio1_porta 30 0>; //powerdown pin / shutdown pin 
    sensor_rst 	= <&pcal6408ahk_c 2 0>;
	sensor_pdn_delay_us = <2000>; //powerdown pin / shutdown pin actived till I2C ready
    DOVDD18_IR-supply = <&soc_dovdd18_ir_reg>;
    DVDD12_IR-supply = <&soc_dvdd12_ir_reg>;
    AVDD25_IR-supply = <&soc_avdd25_ir_reg>;
    i2c_reg_width = /bits/ 8 <2>;
    i2c_data_width = /bits/ 8 <1>;
    i2c_bus = /bits/ 8 <1>;
    status = "okay";
};

&vvcam_sensor2 {//cam2 csib
    sensor_name = "SC132GS";
    sensor_regulators = "soc_cam2_dovdd18_ir", "soc_cam2_dvdd12_ir", "soc_cam2_avdd25_ir";
    sensor_regulator_timing_us = <70 1000 2000>;
    i2c_addr = /bits/ 8 <0x30>;
    sensor_pdn = <&gpio2_porta 13 0>; //powerdown pin / shutdown pin 
    sensor_rst 	= <&pcal6408ahk_c 3 0>;
	sensor_pdn_delay_us = <2000>; //powerdown pin / shutdown pin actived till I2C ready
    DOVDD18_IR-supply = <&soc_cam2_dovdd18_ir_reg>;
    DVDD12_IR-supply = <&soc_cam2_dvdd12_ir_reg>;
    AVDD25_IR-supply = <&soc_cam2_avdd25_ir_reg>;
    i2c_reg_width = /bits/ 8 <2>;
    i2c_data_width = /bits/ 8 <1>;
    i2c_bus = /bits/ 8 <2>;
    status = "okay";
};

&vvcam_sensor3 {//cam3 csi0 modified
	sensor_name = "OV5693";
	sensor_regulators = "soc_dovdd18_rgb", "soc_dvdd12_rgb", "soc_avdd28_rgb";
	sensor_regulator_timing_us = <70 50 20>;
	sensor_pdn = <&gpio1_porta 28 0>; //powerdown pin / shutdown pin 
	sensor_rst 	= <&pcal6408ahk_c 1 0>;
	sensor_pdn_delay_us = <4000>; //powerdown pin / shutdown pin actived till I2C ready
	DOVDD18_RGB-supply = <&soc_dovdd18_rgb_reg>;
	DVDD12_RGB-supply = <&soc_dvdd12_rgb_reg>;
	AVDD28_RGB-supply = <&soc_avdd28_rgb_reg>;
	i2c_reg_width = /bits/ 8 <2>;
	i2c_data_width = /bits/ 8 <1>;
	i2c_addr = /bits/ 8 <0x36>;
	i2c_bus = /bits/ 8 <0>;
	status = "okay";
};

&video2 {
    vi_mem_pool_region = <0>;	// vi_mem: framebuffer, region[0]
	status = "okay";
	channel0 {
		channel_id = <0>;
		status = "okay";
		sensor0 {
			subdev_name = "vivcam";
			idx = <0>;
			csi_idx = <0>;
			mode_idx = <0>;
			path_type = "SENSOR_VGA_RAW12_LINER";
		};
		sensor1 {
			subdev_name = "vivcam";
			idx = <3>;
			csi_idx = <0>;
			mode_idx = <1>;
			path_type = "SENSOR_2592x1944_LINER";
		};
		dma {
			subdev_name = "vipre";
			idx = <0>;
			path_type = "VIPRE_CSI0_ISP1";
		};
		isp {
			subdev_name = "isp";
			idx = <1>;
			path_type = "ISP_MI_PATH_MP";
            output {
				max_width = <2600>;
				max_height = <2000>;
				bit_per_pixel = <12>;
				frame_count = <3>;
			};
		};
	};
	channel1 {
		sensor0 {
			subdev_name = "vivcam";
			idx = <0>;
			csi_idx = <0>;
			mode_idx = <0>;
			path_type = "SENSOR_VGA_RAW12_LINER";
		};
		sensor1 {
			subdev_name = "vivcam";
			idx = <3>;
			csi_idx = <0>;
			mode_idx = <1>;
			path_type = "SENSOR_2592x1944_LINER";
		};
		isp {
			subdev_name = "isp";
			idx = <1>;
			path_type = "ISP_MI_PATH_SP";
			output {
				max_width = <2600>;
				max_height = <2000>;
				bit_per_pixel = <12>;
				frame_count = <3>;
			};
		};
	};
	channel2 {
		sensor0 {
			subdev_name = "vivcam";
			idx = <0>;
			csi_idx = <0>;
			mode_idx = <0>;
			path_type = "SENSOR_VGA_RAW12_LINER";
		};
		sensor1 {
			subdev_name = "vivcam";
			idx = <3>;
			csi_idx = <0>;
			mode_idx = <1>;
			path_type = "SENSOR_2592x1944_LINER";
		};
		isp {
			subdev_name = "isp";
			idx = <1>;
			path_type = "ISP_MI_PATH_SP2_BP";
			output {
				max_width = <2600>;
				max_height = <2000>;
				bit_per_pixel = <12>;
				frame_count = <3>;
			};
		};
	};
};

&video3{
    vi_mem_pool_region = <0>;	// vi_mem: framebuffer, region[0]
	status = "okay";
    channel0 {
		sensor0 {
            subdev_name = "vivcam";
			idx = <0>;
			csi_idx = <0>;
			mode_idx = <0>;
			path_type = "SENSOR_VGA_RAW12_LINER";

		};
		sensor1 {
			subdev_name = "vivcam";
			idx = <3>;
			csi_idx = <0>;
			mode_idx = <1>;
			path_type = "SENSOR_2592x1944_LINER";
		};
        dma {
            subdev_name = "vipre";
			idx = <0>;
			path_type = "VIPRE_CSI0_ISP1";

		};
		isp {
			subdev_name = "isp";
			idx = <1>;
			path_type = "ISP_MI_PATH_MP";
			output {
				max_width = <2600>;
				max_height = <2000>;
				bit_per_pixel = <12>;
				frame_count = <3>;
			};
		};
		dw {
			subdev_name = "dw";
			idx = <0>;
			path_type = "DW_DWE_VSE0";
			dw_dst_depth = <2>;
		};
	};
	channel1 {
        sensor1 {
			subdev_name = "vivcam";
			idx = <3>;
			csi_idx = <0>;
			mode_idx = <1>;
			path_type = "SENSOR_2592x1944_LINER";
		};
        dma {
            subdev_name = "vipre";
			idx = <0>;
			path_type = "VIPRE_CSI0_ISP1";

		};
		isp {
			subdev_name = "isp";
			idx = <1>;
			path_type = "ISP_MI_PATH_MP";
			output {
				max_width = <2600>;
				max_height = <2000>;
				bit_per_pixel = <12>;
				frame_count = <3>;
			};
		};
		dw {
			subdev_name = "dw";
			idx = <0>;
			path_type = "DW_DWE_VSE1";
			dw_dst_depth = <2>;
		};
	};
	channel2 {
		sensor1 {
			subdev_name = "vivcam";
			idx = <3>;
			csi_idx = <0>;
			mode_idx = <1>;
			path_type = "SENSOR_2592x1944_LINER";
		};
        dma {
            subdev_name = "vipre";
			idx = <0>;
			path_type = "VIPRE_CSI0_ISP1";

		};
		isp {
			subdev_name = "isp";
			idx = <1>;
			path_type = "ISP_MI_PATH_MP";
			output {
				max_width = <2600>;
				max_height = <2000>;
				bit_per_pixel = <12>;
				frame_count = <3>;
			};
		};
		dw {
			subdev_name = "dw";
			idx = <0>;
			path_type = "DW_DWE_VSE2";
			dw_dst_depth = <2>;
		};
	};
};


&trng {
	status = "disabled";
};

&eip_28 {
	status = "okay";
};

&vdec {
	status = "okay";
};

&venc {
	status = "okay";
};

&isp_venc_shake {
	status = "okay";
};

&vidmem {
	status = "okay";
    memory-region = <&vi_mem>;
};

&gpu {
	status = "okay";
};

&npu {
	vha_clk_rate = <1000000000>;
	status = "okay";
};

&npu_opp_table {
	opp-1000000000 {
		opp-suspend;
	};
};

&fce {
	memory-region = <&facelib_mem>;
	status = "okay";
};

&dpu_enc0 {

	ports {
		/* output */
		port@1 {
			reg = <1>;

			enc0_out: endpoint {
				remote-endpoint = <&dsi0_in>;
			};
		};
	};
};

&dpu_enc1 {
        ports {
                /delete-node/ port@0;
        };
};

&dpu {
        status = "okay";
};

&dhost_0 {
	ports {
		#address-cells = <1>;
		#size-cells = <0>;

		port@0 {
			reg = <0>;

			dsi0_in: endpoint {
				remote-endpoint = <&enc0_out>;
			};
		};

		port@1 {
			reg = <1>;

			dsi0_out: endpoint {
				remote-endpoint = <&panel0_in>;
			};
		};
	};

	panel0@0 {
		reg = <0>;
		backlight = <&lcd0_backlight>;
		reset-gpio = <&pcal6408ahk_d 7 0>; /* active low */
		hsvcc-supply = <&soc_vdd18_lcd0_en_reg>;
		vspn3v3-supply = <&soc_vdd33_lcd0_en_reg>;

		port {
				panel0_in: endpoint {
						remote-endpoint = <&dsi0_out>;
				};
		};
	};
};

&disp1_out {
	remote-endpoint = <&hdmi_tx_in>;
};

&hdmi_tx {
	status = "okay";
	pinctrl-names = "default";
	pinctrl-0 = <&pinctrl_hdmi>;

	port@0 {
		/* input */
		hdmi_tx_in: endpoint {
			remote-endpoint = <&disp1_out>;
		};
	};
};

&lightsound {
        status = "okay";
        simple-audio-card,dai-link@0 {          /* I2S - AUDIO SYS CODEC 8156*/
                reg = <0>;
                format = "i2s";
                cpu {
                        sound-dai = <&i2s1 0>;
                };
                codec {
                        sound-dai = <&es8156_audio_codec>;
                };
        };
        simple-audio-card,dai-link@1 {          /* I2S - AUDIO SYS CODEC 7210*/
                reg = <1>;
                format = "i2s";
                cpu {
                        sound-dai = <&i2s1 0>;
                };
                codec {
                        sound-dai = <&es7210_audio_codec>;
                };
        };
        simple-audio-card,dai-link@2 {          /* I2S - HDMI*/
                reg = <2>;
                format = "i2s";
                cpu {
                        sound-dai = <&light_i2s 1>;
                };
                codec {
                        sound-dai = <&dummy_codec>;
                };
        };
};

&light_i2s {
        status = "okay";
};

&i2s0 {
        status = "okay";
};

&i2s1 {
        status = "okay";
        pinctrl-names = "default";
        pinctrl-0 = <&pinctrl_audiopa14>,
                    <&pinctrl_audiopa15>,
                    <&pinctrl_audiopa16>,
                    <&pinctrl_audiopa17>,
                    <&pinctrl_audio_i2s1>;
        light,mclk_keepon = <1>;
};

&i2s2 {
        status = "okay";
        pinctrl-names = "default";
        pinctrl-0 = <&pinctrl_audiopa18>,
                    <&pinctrl_audiopa19>,
                    <&pinctrl_audiopa21>,
                    <&pinctrl_audiopa22>,
                    <&pinctrl_audio_i2s2>;
};

&usb_1 {
	hubswitch-gpio = <&ao_gpio_porta 4 0>;
	vbus-supply = <&soc_vbus_en_reg>;
	hub1v2-supply = <&reg_usb_hub_vdd1v2>;
	hub5v-supply = <&reg_usb_hub_vcc5v>;
};

&light_regdump {
	memory-region = <&regdump_mem>;
	status = "okay";
};

&cpus {
	c910_0: cpu@0 {
		operating-points = <
			/* kHz    uV */
			300000	600000
			400000  700000
			500000  700000
			600000  700000
			702000  700000
			800000	700000
			900000	800000
			1000000	800000
			1104000	800000
			1200000	800000
			1296000 800000
			1404000 800000
			1500000	800000
			1608000 1000000
			1704000	1000000
			1848000 1000000
		>;
		light,dvddm-operating-points = <
			/* kHz   uV */
			300000	800000
			400000  800000
			500000  800000
			600000  800000
			702000  800000
			800000	800000
			900000	800000
			1000000	800000
			1104000	800000
			1200000	800000
			1296000 800000
			1404000 800000
			1500000	800000
			1608000 1000000
			1704000	1000000
			1848000 1000000
		>;
	};
	c910_1: cpu@1 {
		operating-points = <
			/* kHz    uV */
			300000	600000
			400000  700000
			500000  700000
			600000  700000
			702000  700000
			800000	700000
			900000	800000
			1000000	800000
			1104000	800000
			1200000	800000
			1296000 800000
			1404000 800000
			1500000	800000
			1608000 1000000
			1704000	1000000
			1848000 1000000
		>;
		light,dvddm-operating-points = <
			/* kHz   uV */
			300000	800000
			400000  800000
			500000  800000
			600000  800000
			702000  800000
			800000	800000
			900000	800000
			1000000	800000
			1104000	800000
			1200000	800000
			1296000 800000
			1404000 800000
			1500000	800000
			1608000 1000000
			1704000	1000000
			1848000 1000000
		>;
	};
	c910_2: cpu@2 {

		operating-points = <
			/* kHz    uV */
			300000	600000
			400000  700000
			500000  700000
			600000  700000
			702000  700000
			800000	700000
			900000	800000
			1000000	800000
			1104000	800000
			1200000	800000
			1296000 800000
			1404000 800000
			1500000	800000
			1608000 1000000
			1704000	1000000
			1848000 1000000
		>;
		light,dvddm-operating-points = <
			/* kHz   uV */
			300000	800000
			400000  800000
			500000  800000
			600000  800000
			702000  800000
			800000	800000
			900000	800000
			1000000	800000
			1104000	800000
			1200000	800000
			1296000 800000
			1404000 800000
			1500000	800000
			1608000 1000000
			1704000	1000000
			1848000 1000000
		>;
	};
	c910_3: cpu@3 {

		operating-points = <
			/* kHz    uV */
			300000	600000
			400000  700000
			500000  700000
			600000  700000
			702000  700000
			800000	700000
			900000	800000
			1000000	800000
			1104000	800000
			1200000	800000
			1296000 800000
			1404000 800000
			1500000	800000
			1608000 1000000
			1704000	1000000
			1848000 1000000
		>;
		light,dvddm-operating-points = <
			/* kHz   uV */
			300000	800000
			400000  800000
			500000  800000
			600000  800000
			702000  800000
			800000	800000
			900000	800000
			1000000	800000
			1104000	800000
			1200000	800000
			1296000 800000
			1404000 800000
			1500000	800000
			1608000 1000000
			1704000	1000000
			1848000 1000000
		>;
	};
};
